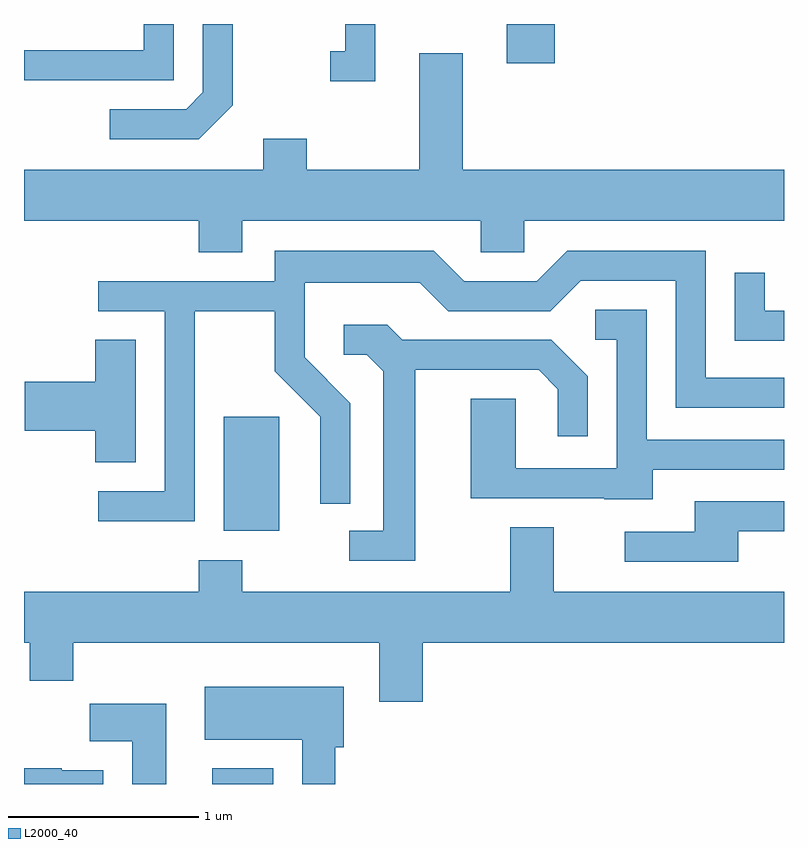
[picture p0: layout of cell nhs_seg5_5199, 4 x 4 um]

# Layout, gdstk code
import gdstk
lib = gdstk.Library(unit=1e-6, precision=1e-09)
def R(c, l, rs):  # rectangles x0, y0, x1, y1
    for r in rs: c.add(gdstk.rectangle(r[:2], r[2:], *l))
def P(c, l, *ps):  # polygons
    for p in ps: c.add(gdstk.Polygon(p, *l))
L2000_40 = (2000, 40)

nhs_seg5_5199 = lib.new_cell('nhs_seg5_5199')
R(nhs_seg5_5199, L2000_40, [(340.601,1436.072,340.924,1436.154), (340.661,1437.406,340.954,1438.004), (342.151,1439.866,342.404,1440.072)])
P(nhs_seg5_5199, L2000_40, [(341.459,1440.072),(341.301,1440.072),(341.301,1439.929),(341.223,1439.929),(341.223,1439.771),(341.459,1439.771)],
  [(340.399,1440.072),(340.241,1440.072),(340.241,1439.934),(339.611,1439.934),(339.611,1439.776),(340.399,1439.776)],
  [(340.709,1439.644),(340.709,1440.072),(340.551,1440.072),(340.551,1439.712),(340.464,1439.624),(340.063,1439.624),(340.063,1439.466),(340.532,1439.466)],
  [(340.759,1439.036),(342.016,1439.036),(342.016,1438.871),(342.244,1438.871),(342.244,1439.036),(343.611,1439.036),(343.611,1439.304),(341.919,1439.304),(341.919,1439.919),(341.691,1439.919),(341.691,1439.304),(341.099,1439.304),(341.099,1439.469),(340.871,1439.469),(340.871,1439.304),(339.611,1439.304),(339.611,1439.036),(340.531,1439.036),(340.531,1438.871),(340.759,1438.871)],
  [(340.509,1438.561),(340.931,1438.561),(340.931,1438.244),(341.171,1438.004),(341.171,1437.548),(341.329,1437.548),(341.329,1438.077),(341.089,1438.317),(341.089,1438.711),(341.694,1438.711),(341.844,1438.561),(342.382,1438.561),(342.542,1438.721),(343.041,1438.721),(343.041,1438.051),(343.611,1438.051),(343.611,1438.209),(343.199,1438.209),(343.199,1438.879),(342.469,1438.879),(342.309,1438.719),(341.927,1438.719),(341.767,1438.879),(340.931,1438.879),(340.931,1438.719),(340.003,1438.719),(340.003,1438.561),(340.351,1438.561),(340.351,1437.614),(340.003,1437.614),(340.003,1437.456),(340.509,1437.456)],
  [(343.611,1438.564),(343.509,1438.564),(343.509,1438.763),(343.351,1438.763),(343.351,1438.406),(343.611,1438.406)],
  [(342.919,1437.726),(343.611,1437.726),(343.611,1437.884),(342.889,1437.884),(342.889,1438.569),(342.618,1438.569),(342.618,1438.411),(342.731,1438.411),(342.731,1437.734),(342.199,1437.734),(342.199,1438.099),(341.961,1438.099),(341.961,1437.576),(342.665,1437.576),(342.665,1437.571),(342.919,1437.571)],
  [(341.669,1438.251),(342.319,1438.251),(342.421,1438.149),(342.421,1437.903),(342.579,1437.903),(342.579,1438.217),(342.387,1438.409),(341.602,1438.409),(341.522,1438.489),(341.293,1438.489),(341.293,1438.331),(341.414,1438.331),(341.501,1438.244),(341.501,1437.404),(341.323,1437.404),(341.323,1437.246),(341.669,1437.246)],
  [(340.199,1438.409),(339.986,1438.409),(339.986,1438.189),(339.616,1438.189),(339.616,1437.931),(339.986,1437.931),(339.986,1437.766),(340.199,1437.766)],
  [(343.369,1437.401),(343.611,1437.401),(343.611,1437.559),(343.141,1437.559),(343.141,1437.399),(342.773,1437.399),(342.773,1437.241),(343.369,1437.241)],
  [(341.709,1436.816),(343.611,1436.816),(343.611,1437.084),(342.399,1437.084),(342.399,1437.424),(342.171,1437.424),(342.171,1437.084),(340.759,1437.084),(340.759,1437.249),(340.531,1437.249),(340.531,1437.084),(339.611,1437.084),(339.611,1436.816),(339.641,1436.816),(339.641,1436.616),(339.869,1436.616),(339.869,1436.816),(341.481,1436.816),(341.481,1436.506),(341.709,1436.506)],
  [(341.249,1436.266),(341.294,1436.266),(341.294,1436.584),(340.561,1436.584),(340.561,1436.306),(341.076,1436.306),(341.076,1436.072),(341.249,1436.072)],
  [(340.359,1436.494),(339.956,1436.494),(339.956,1436.296),(340.181,1436.296),(340.181,1436.072),(340.359,1436.072)],
  [(340.029,1436.144),(339.81,1436.144),(339.81,1436.154),(339.611,1436.154),(339.611,1436.072),(340.029,1436.072)])

lib.write_gds('nhs_seg5_5199.gds')
